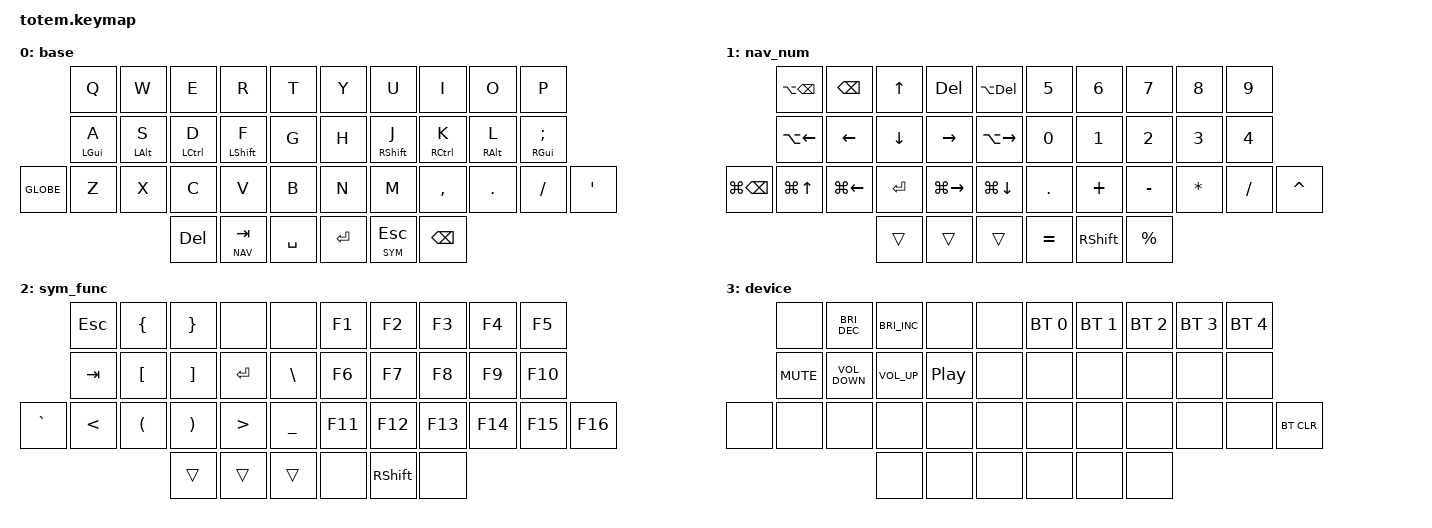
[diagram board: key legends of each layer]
//
//                                                        ▀▀▀▀▀     ▀▀▀▀▀          ▀▀█▀▀
//                                                        ▄▀▀▀▄  ▄  ▄▀▀▀▄  ▄  ▄▀▀▀▄  █  ▄▀▀▀▄
//                                                        █   █  █  █   █  █  █   █  █  █   █
//                                                         ▀▀▀   █   ▀▀▀   █   ▀▀▀   ▀   ▀▀▀
//                                                               █      ▄▄▄█▄▄▄    █   █  
//                                                               ▀      █  █  █     █▄█
//                                                             ▀▀▀▀▀    █  █  █      ▀
//                                                                      ▀  ▀  ▀
//
// ▄▄▄▄▄▄▄▄▄▄▄▄▄▄▄▄▄▄▄▄▄▄▄▄▄▄▄▄▄▄▄▄▄▄▄▄▄▄▄▄▄▄▄▄▄▄▄▄▄▄▄▄▄▄▄▄▄▄▄▄▄▄▄▄▄▄▄▄▄▄▄▄▄▄▄▄▄▄▄▄▄▄▄▄▄▄▄▄▄▄▄▄▄▄▄▄▄▄▄▄▄▄▄▄▄▄▄▄▄▄▄▄▄▄▄▄▄▄▄▄▄▄▄▄▄▄▄▄▄▄▄▄▄▄▄▄▄▄▄▄▄▄▄▄▄▄▄▄▄

#include <behaviors.dtsi>
#include <dt-bindings/zmk/bt.h>
#include <dt-bindings/zmk/keys.h>

#define BASE 0
#define NAV  1
#define SYM  2
#define DEV  3

&mt {
    quick-tap-ms = <100>;
    global-quick-tap;
    flavor = "tap-preferred";
    tapping-term-ms = <170>;
};

/ {
    combos {
        compatible = "zmk,combos";

        combo_esc {
            timeout-ms = <50>;
            key-positions = <0 1>;
            bindings = <&kp ESC>;
        };
    };

    keymap {
        compatible = "zmk,keymap";

        base {
            bindings = <
           &kp Q       &kp W       &kp E        &kp R        &kp T        &kp Y    &kp U        &kp I        &kp O       &kp P
           &mt LGUI A  &mt LALT S  &mt LCTRL D  &mt LSHFT F  &kp G        &kp H    &mt RSHFT J  &mt RCTRL K  &mt RALT L  &mt RGUI SEMI
&kp GLOBE  &kp Z       &kp X       &kp C        &kp V        &kp B        &kp N    &kp M        &kp COMMA    &kp DOT     &kp FSLH       &kp APOS
                                   &kp DEL      &lt NAV TAB  &kp SPACE    &kp RET  &lt SYM ESC  &kp BSPC
            >;
        };

        nav_num {
            bindings = <
                   &kp LA(BACKSPACE)   &kp BACKSPACE  &kp UP     &kp DELETE     &kp LA(DELETE)        &kp N5      &kp N6           &kp N7       &kp N8    &kp N9
                   &kp LA(LEFT_ARROW)  &kp LEFT       &kp DOWN   &kp RIGHT      &kp LA(RIGHT)         &kp N0      &kp N1           &kp N2       &kp N3    &kp N4
&kp LG(BACKSPACE)  &kp LG(UP_ARROW)    &kp LG(LEFT)   &kp ENTER  &kp LG(RIGHT)  &kp LG(DOWN_ARROW)    &kp PERIOD  &kp PLUS         &kp MINUS    &kp STAR  &kp FSLH  &kp CARET
                                                      &trans     &trans         &trans                &kp EQUAL   &kp RIGHT_SHIFT  &kp PERCENT
            >;
        };

        sym_func {
            bindings = <
           &kp ESC        &kp LEFT_BRACE        &kp RIGHT_BRACE        &none             &none             &kp F1   &kp F2           &kp F3   &kp F4   &kp F5
           &kp TAB        &kp LBKT              &kp RBKT               &kp ENTER         &kp BSLH          &kp F6   &kp F7           &kp F8   &kp F9   &kp F10
&kp GRAVE  &kp LESS_THAN  &kp LEFT_PARENTHESIS  &kp RIGHT_PARENTHESIS  &kp GREATER_THAN  &kp UNDERSCORE    &kp F11  &kp F12          &kp F13  &kp F14  &kp F15  &kp F16
                                                &trans                 &trans            &trans            &none    &kp RIGHT_SHIFT  &none
            >;
        };

        device {
            bindings = <
       &none       &kp C_BRIGHTNESS_DEC  &kp C_BRIGHTNESS_INC  &none             &none    &bt BT_SEL 0  &bt BT_SEL 1  &bt BT_SEL 2  &bt BT_SEL 3  &bt BT_SEL 4
       &kp K_MUTE  &kp C_VOLUME_DOWN     &kp C_VOLUME_UP       &kp C_PLAY_PAUSE  &none    &none         &none         &none         &none         &none
&none  &none       &none                 &none                 &none             &none    &none         &none         &none         &none         &none         &bt BT_CLR
                                         &none                 &none             &none    &none         &none         &none
            >;
        };

        extra1 { status = "reserved"; };

        extra2 { status = "reserved"; };

        extra3 { status = "reserved"; };
    };

    conditional_layers {
        compatible = "zmk,conditional-layers";

        device {
            if-layers = <1 2>;
            then-layer = <3>;
        };
    };
};
